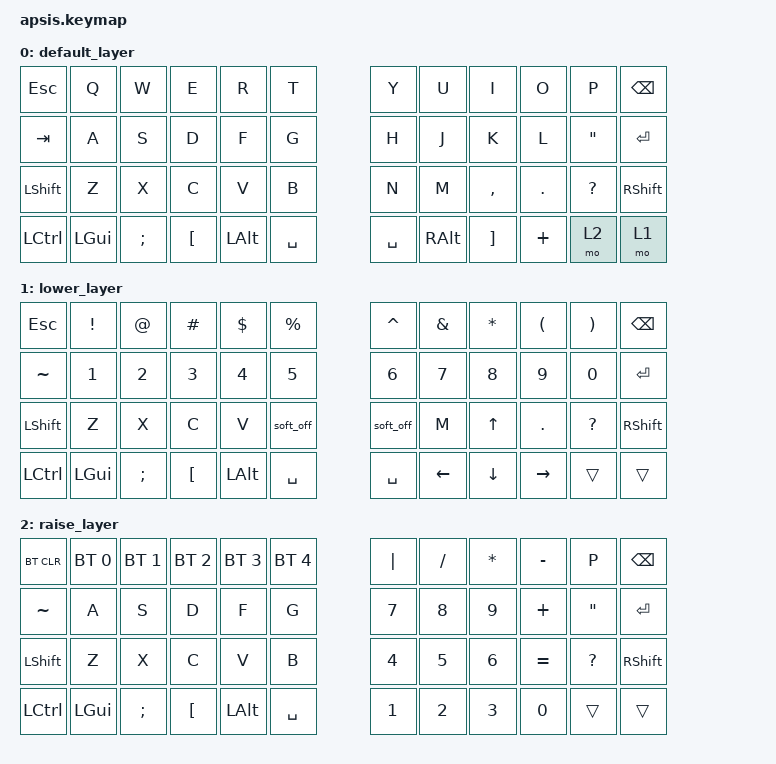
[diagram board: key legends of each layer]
// This file was generated from a template. Edit it to match your keyboard.
// See https://zmk.dev/docs/development/hardware-integration/new-shield for more instructions.

#include <behaviors.dtsi>
#include <dt-bindings/zmk/keys.h>
#include <dt-bindings/zmk/bt.h>
#include <physical_layouts.dtsi>

/ {
    chosen {
        zmk,physical-layout = &apsis_layout;
    };

    apsis_layout: apsis_layout {
        compatible = "zmk,physical-layout";
        display-name = "Apsis Standard";
        transform = <&default_transform>;
        kscan = <&kscan0>;

        keys
            // Row 0
            // Left Half
            = <&key_physical_attrs 100 100 0 0 0 0 0>
            , <&key_physical_attrs 100 100 100 0 0 0 0>
            , <&key_physical_attrs 100 100 200 0 0 0 0>
            , <&key_physical_attrs 100 100 300 0 0 0 0>
            , <&key_physical_attrs 100 100 400 0 0 0 0>
            , <&key_physical_attrs 100 100 500 0 0 0 0>
            // Right Half
            , <&key_physical_attrs 100 100 700 0 0 0 0>
            , <&key_physical_attrs 100 100 800 0 0 0 0>
            , <&key_physical_attrs 100 100 900 0 0 0 0>
            , <&key_physical_attrs 100 100 1000 0 0 0 0>
            , <&key_physical_attrs 100 100 1100 0 0 0 0>
            , <&key_physical_attrs 100 100 1200 0 0 0 0>

            // Row 1
            // Left Half
            , <&key_physical_attrs 100 100 0 100 0 0 0>
            , <&key_physical_attrs 100 100 100 100 0 0 0>
            , <&key_physical_attrs 100 100 200 100 0 0 0>
            , <&key_physical_attrs 100 100 300 100 0 0 0>
            , <&key_physical_attrs 100 100 400 100 0 0 0>
            , <&key_physical_attrs 100 100 500 100 0 0 0>
            // Right Half
            , <&key_physical_attrs 100 100 700 100 0 0 0>
            , <&key_physical_attrs 100 100 800 100 0 0 0>
            , <&key_physical_attrs 100 100 900 100 0 0 0>
            , <&key_physical_attrs 100 100 1000 100 0 0 0>
            , <&key_physical_attrs 100 100 1100 100 0 0 0>
            , <&key_physical_attrs 100 100 1200 100 0 0 0>

            // Row 2
            // Left Half
            , <&key_physical_attrs 100 100 0 200 0 0 0>
            , <&key_physical_attrs 100 100 100 200 0 0 0>
            , <&key_physical_attrs 100 100 200 200 0 0 0>
            , <&key_physical_attrs 100 100 300 200 0 0 0>
            , <&key_physical_attrs 100 100 400 200 0 0 0>
            , <&key_physical_attrs 100 100 500 200 0 0 0>
            // Right Half
            , <&key_physical_attrs 100 100 700 200 0 0 0>
            , <&key_physical_attrs 100 100 800 200 0 0 0>
            , <&key_physical_attrs 100 100 900 200 0 0 0>
            , <&key_physical_attrs 100 100 1000 200 0 0 0>
            , <&key_physical_attrs 100 100 1100 200 0 0 0>
            , <&key_physical_attrs 100 100 1200 200 0 0 0>

            // Row 3
            // Left Half
            , <&key_physical_attrs 100 100 0 300 0 0 0>
            , <&key_physical_attrs 100 100 100 300 0 0 0>
            , <&key_physical_attrs 100 100 200 300 0 0 0>
            , <&key_physical_attrs 100 100 300 300 0 0 0>
            , <&key_physical_attrs 100 100 400 300 0 0 0>
            , <&key_physical_attrs 100 100 500 300 0 0 0>
            // Right Half
            , <&key_physical_attrs 100 100 700 300 0 0 0>
            , <&key_physical_attrs 100 100 800 300 0 0 0>
            , <&key_physical_attrs 100 100 900 300 0 0 0>
            , <&key_physical_attrs 100 100 1000 300 0 0 0>
            , <&key_physical_attrs 100 100 1100 300 0 0 0>
            , <&key_physical_attrs 100 100 1200 300 0 0 0>
            ;
    };

    keymap {
        compatible = "zmk,keymap";

        default_layer { // Layer 0
            // -------------------------------------------------------------------------------------------------------------
            // |   ESC   |    Q    |    W    |    E    |    R    |    T    |   |    Y    |    U    |    I    |    O    |    P    |   BSPC  |
            // |   TAB   |    A    |    S    |    D    |    F    |    G    |   |    H    |    J    |    K    |    L    |    "    |   RET   |
            // |  LSHFT  |    Z    |    X    |    C    |    V    |    B    |   |    N    |    M    |    ,    |    .    |    ?    |  RSHFT  |
            // |  LCTRL  |  LGUI   |    ;    |    {    |  LALT   |   SPC   |   |   SPC   |  RALT   |    }    |    +    |  LYR 2  |  LYR 1  |
            bindings = <
                &kp ESC      &kp Q        &kp W        &kp E        &kp R        &kp T              &kp Y        &kp U        &kp I        &kp O        &kp P        &kp BSPC
                &kp TAB      &kp A        &kp S        &kp D        &kp F        &kp G              &kp H        &kp J        &kp K        &kp L        &kp DQT      &kp RET
                &kp LSHFT    &kp Z        &kp X        &kp C        &kp V        &kp B              &kp N        &kp M        &kp COMMA    &kp DOT      &kp QMARK    &kp RSHFT
                &kp LCTRL    &kp LEFT_GUI &kp SEMI     &kp LBKT     &kp LALT     &kp SPACE          &kp SPACE    &kp RALT     &kp RBKT     &kp PLUS     &mo 2        &mo 1
            >;
        };

        lower_layer { // Layer 1
            // -------------------------------------------------------------------------------------------------------------
            // |   ESC   |    !    |    @    |    #    |    $    |    %    |   |    ^    |    &    |    * |    (    |    )    |   BSPC  |
            // |    ~    |    1    |    2    |    3    |    4    |    5    |   |    6    |    7    |    8    |    9    |    0    |   RET   |
            // |  LSHFT  |    Z    |    X    |    C    |    V    | PWR OFF |   | PWR OFF |    M    |   UP    |    .    |    ?    |  RSHFT  |
            // |  LCTRL  |  LGUI   |    ;    |    {    |  LALT   |   SPC   |   |   SPC   |  LEFT   |  DOWN   |  RIGHT  |  TRANS  |  TRANS  |
            bindings = <
                &kp ESC      &kp EXCL     &kp AT       &kp HASH     &kp DOLLAR   &kp PERCENT        &kp CARET    &kp AMPS     &kp STAR     &kp LPAR     &kp RPAR     &kp BSPC
                &kp TILDE    &kp N1       &kp N2       &kp N3       &kp N4       &kp N5             &kp N6       &kp N7       &kp N8       &kp N9       &kp N0       &kp RET
                &kp LSHFT    &kp Z        &kp X        &kp C        &kp V        &soft_off          &soft_off    &kp M        &kp UP       &kp DOT      &kp QMARK    &kp RSHFT
                &kp LCTRL    &kp LEFT_GUI &kp SEMI     &kp LBKT     &kp LALT     &kp SPACE          &kp SPACE    &kp LEFT     &kp DOWN     &kp RIGHT    &trans       &trans
            >;
        };

        raise_layer { // Layer 2
            // -------------------------------------------------------------------------------------------------------------
            // | BT CLR  |  BT 0   |  BT 1   |  BT 2   |  BT 3   |  BT 4   |   |    |    |    /    |    * |    -    |    P    |   BSPC  |
            // |    ~    |    A    |    S    |    D    |    F    |    G    |   |    7    |    8    |    9    |    +    |    "    |   RET   |
            // |  LSHFT  |    Z    |    X    |    C    |    V    |    B    |   |    4    |    5    |    6    |    =    |    ?    |  RSHFT  |
            // |  LCTRL  |  LGUI   |    ;    |    {    |  LALT   |   SPC   |   |    1    |    2    |    3    |    0    |  TRANS  |  TRANS  |
            bindings = <
                &bt BT_CLR   &bt BT_SEL 0 &bt BT_SEL 1 &bt BT_SEL 2 &bt BT_SEL 3 &bt BT_SEL 4       &kp PIPE     &kp SLASH    &kp STAR     &kp MINUS    &kp P        &kp BSPC
                &kp TILDE    &kp A        &kp S        &kp D        &kp F        &kp G              &kp N7       &kp N8       &kp N9       &kp PLUS     &kp DQT      &kp RET
                &kp LSHFT    &kp Z        &kp X        &kp C        &kp V        &kp B              &kp N4       &kp N5       &kp N6       &kp EQUAL    &kp QMARK    &kp RSHFT
                &kp LCTRL    &kp LEFT_GUI &kp SEMI     &kp LBKT     &kp LALT     &kp SPACE          &kp N1       &kp N2       &kp N3       &kp N0       &trans       &trans
            >;
        };
    };
};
